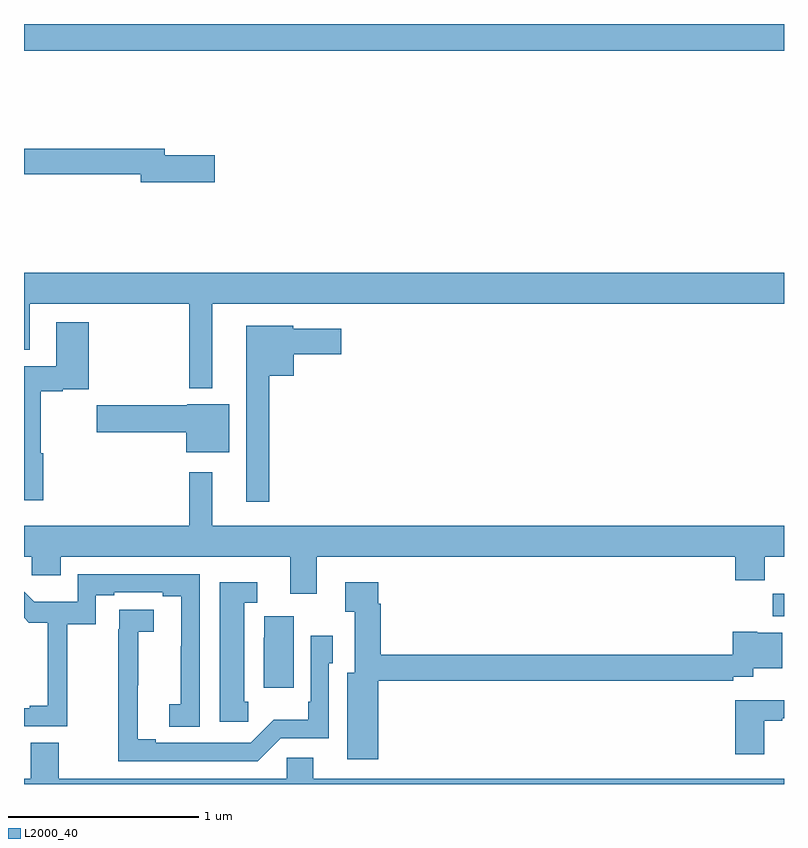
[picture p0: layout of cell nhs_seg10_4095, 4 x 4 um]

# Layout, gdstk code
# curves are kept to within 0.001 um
import gdstk
lib = gdstk.Library(unit=1e-6, precision=1e-09)
def R(c, l, rs):  # rectangles x0, y0, x1, y1
    for r in rs: c.add(gdstk.rectangle(r[:2], r[2:], *l))
def P(c, l, *ps):  # polygons
    for p in ps: c.add(gdstk.Polygon(p, *l))
L2000_40 = (2000, 40)

nhs_seg10_4095 = lib.new_cell('nhs_seg10_4095')
R(nhs_seg10_4095, L2000_40, [(342.94,1253.384,343,1253.502), (339,1256.36,343,1256.5)])
P(nhs_seg10_4095, L2000_40, [(340.003,1255.808),(339.742,1255.808),(339.742,1255.844),(339,1255.844),(339,1255.708),(339.614,1255.708),(339.614,1255.666),(340.003,1255.666)],
  [(339.991,1255.028),(343,1255.028),(343,1255.192),(339,1255.192),(339,1254.785),(339.031,1254.785),(339.031,1255.028),(339.87,1255.028),(339.87,1254.584),(339.991,1254.584)],
  [(339.101,1254.241),(339.088,1254.241),(339.088,1254.566),(339.204,1254.566),(339.204,1254.578),(339.341,1254.578),(339.341,1254.931),(339.17,1254.931),(339.17,1254.7),(339,1254.7),(339,1253.993),(339.101,1253.993)],
  [(340.291,1254.65),(340.42,1254.65),(340.42,1254.761),(340.669,1254.761),(340.669,1254.895),(340.416,1254.895),(340.416,1254.913),(340.169,1254.913),(340.169,1253.985),(340.291,1253.985)],
  [(340.081,1254.499),(339.858,1254.499),(339.858,1254.494),(339.384,1254.494),(339.384,1254.352),(339.854,1254.352),(339.854,1254.245),(340.081,1254.245)],
  [(340.54,1253.696),(342.743,1253.696),(342.743,1253.572),(342.899,1253.572),(342.899,1253.696),(343,1253.696),(343,1253.86),(339.991,1253.86),(339.991,1254.142),(339.87,1254.142),(339.87,1253.86),(339,1253.86),(339,1253.696),(339.042,1253.696),(339.042,1253.598),(339.193,1253.598),(339.193,1253.696),(340.4,1253.696),(340.4,1253.502),(340.54,1253.502)],
  [(339.924,1253.604),(339.282,1253.604),(339.282,1253.458),(339.053,1253.458),(339,1253.511),(339,1253.374),(339.025,1253.349),(339.125,1253.349),(339.125,1252.912),(339.029,1252.912),(339.029,1252.899),(339,1252.899),(339,1252.803),(339.227,1252.803),(339.227,1253.341),(339.378,1253.341),(339.378,1253.494),(339.475,1253.494),(339.475,1253.508),(339.731,1253.508),(339.731,1253.488),(339.827,1253.488),(339.826,1252.921),(339.765,1252.921),(339.765,1252.801),(339.924,1252.801)],
  [(340.864,1253.044),(342.734,1253.044),(342.734,1253.064),(342.837,1253.064),(342.837,1253.108),(342.991,1253.108),(342.991,1253.296),(342.858,1253.296),(342.858,1253.302),(342.729,1253.302),(342.729,1253.18),(340.877,1253.18),(340.877,1253.45),(340.864,1253.45),(340.864,1253.563),(340.692,1253.563),(340.692,1253.407),(340.742,1253.407),(340.742,1253.086),(340.7,1253.086),(340.7,1252.629),(340.864,1252.629)],
  [(340.181,1252.932),(340.159,1252.932),(340.159,1253.455),(340.228,1253.455),(340.228,1253.563),(340.031,1253.563),(340.031,1252.827),(340.181,1252.827)],
  [(340.35,1252.74),(340.605,1252.74),(340.605,1253.136),(340.626,1253.136),(340.626,1253.281),(340.509,1253.281),(340.509,1252.933),(340.497,1252.933),(340.497,1252.837),(340.315,1252.837),(340.194,1252.716),(339.694,1252.716),(339.694,1252.736),(339.598,1252.736),(339.6,1253.302),(339.682,1253.302),(339.682,1253.417),(339.502,1253.417),(339.502,1253.315),(339.496,1253.315),(339.496,1252.62),(340.23,1252.62)],
  [(340.42,1253.383),(340.264,1253.383),(340.264,1253.27),(340.262,1253.27),(340.262,1253.007),(340.42,1253.007)],
  [(342.895,1252.833),(342.991,1252.833),(342.991,1252.845),(343,1252.845),(343,1252.942),(342.743,1252.942),(342.743,1252.656),(342.895,1252.656)],
  [(343,1252.528),(340.522,1252.528),(340.522,1252.638),(340.383,1252.638),(340.383,1252.528),(339.183,1252.528),(339.183,1252.718),(339.035,1252.718),(339.035,1252.528),(339,1252.528),(339,1252.5),(343,1252.5)])

lib.write_gds('nhs_seg10_4095.gds')
